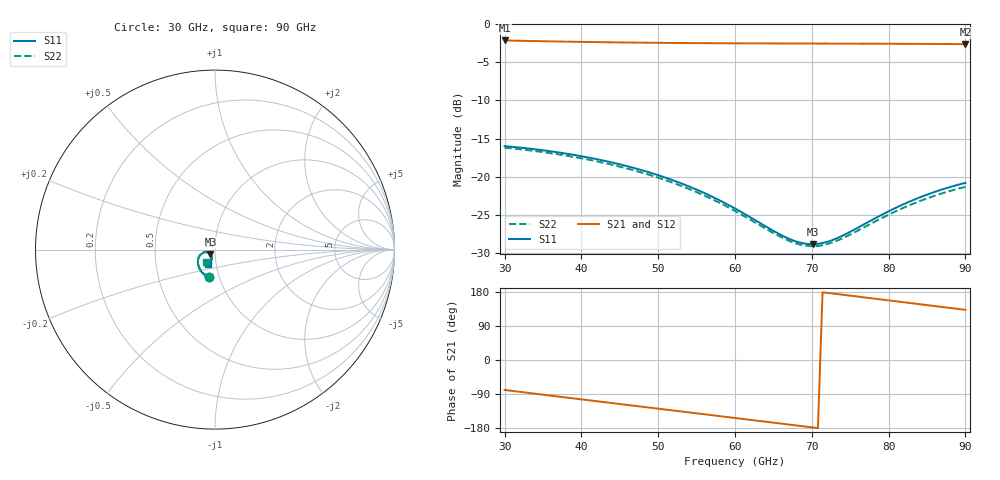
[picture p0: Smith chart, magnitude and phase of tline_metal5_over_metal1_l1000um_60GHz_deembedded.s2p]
! Created with skrf 2.0.1 (http://scikit-rf.org).
# GHz S DB R 50.0
!freq dBS11 angS11 dBS21 angS21 dBS12 angS12 dBS22 angS22
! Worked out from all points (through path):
!   101 points, 30 GHz to 90 GHz, reference 50 ohm
!   highest |S21| = -2.13 dB at 30 GHz (marker M1); lowest = -2.6 dB at 90 GHz (marker M2)
!   group delay of S21, straight-line fit = 6.87 ps
!   lowest |S11| = -28.8 dB at 70.2 GHz (marker M3), VSWR 1.08, Z = 47.4 - j2.42 ohm
!   |S11| at or under -10 dB: start of sweep to end of sweep
!   |S22| runs from -29.1 to -16.2 dB; largest |S21 - S12| = 7.1e-16
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30  -15.98 -101.9  -2.13 -79.1  -2.13 -79.1  -16.18 -102.7
32.4  -16.22 -109.1  -2.18 -85.0  -2.18 -85.0  -16.44 -110.1
34.8  -16.50 -116.0  -2.23 -91.0  -2.23 -91.0  -16.74 -117.2
37.2  -16.84 -122.7  -2.27 -97.0  -2.27 -97.0  -17.10 -124.1
40.2  -17.35 -130.7  -2.32 -104.4  -2.32 -104.4  -17.62 -132.3
45  -18.37 -142.5  -2.39 -116.2  -2.39 -116.2  -18.68 -144.4
47.4  -19.01 -147.8  -2.41 -122.1  -2.41 -122.1  -19.32 -150.0
50.4  -19.93 -153.9  -2.44 -129.4  -2.44 -129.4  -20.26 -156.2
55.2  -21.77 -161.5  -2.48 -141.2  -2.48 -141.2  -22.11 -164.2
57.6  -22.90 -163.8  -2.49 -147.1  -2.49 -147.1  -23.23 -166.8
60  -24.16 -164.7  -2.50 -153.0  -2.50 -153.0  -24.49 -167.9
63.6  -26.27 -161.6  -2.52 -161.9  -2.52 -161.9  -26.57 -165.1
66.6  -27.94 -153.0  -2.52 -169.3  -2.52 -169.3  -28.21 -157.0
68.4  -28.62 -144.7  -2.53 -173.8  -2.53 -173.8  -28.87 -149.2
70.2  -28.84 -135.1  -2.53 -178.2  -2.53 -178.2  -29.10 -140.1
71.4  -28.69 -128.8  -2.54 178.8  -2.54 178.8  -28.97 -134.0
73.2  -28.10 -120.5  -2.54 174.3  -2.54 174.3  -28.42 -126.1
76.8  -26.24 -110.4  -2.55 165.3  -2.55 165.3  -26.64 -116.5
80.4  -24.33 -107.7  -2.57 156.3  -2.57 156.3  -24.78 -114.1
82.8  -23.23 -108.5  -2.58 150.3  -2.58 150.3  -23.70 -115.0
85.2  -22.28 -110.5  -2.59 144.3  -2.59 144.3  -22.77 -117.1
90  -20.80 -116.7  -2.61 132.3  -2.61 132.3  -21.32 -123.7
